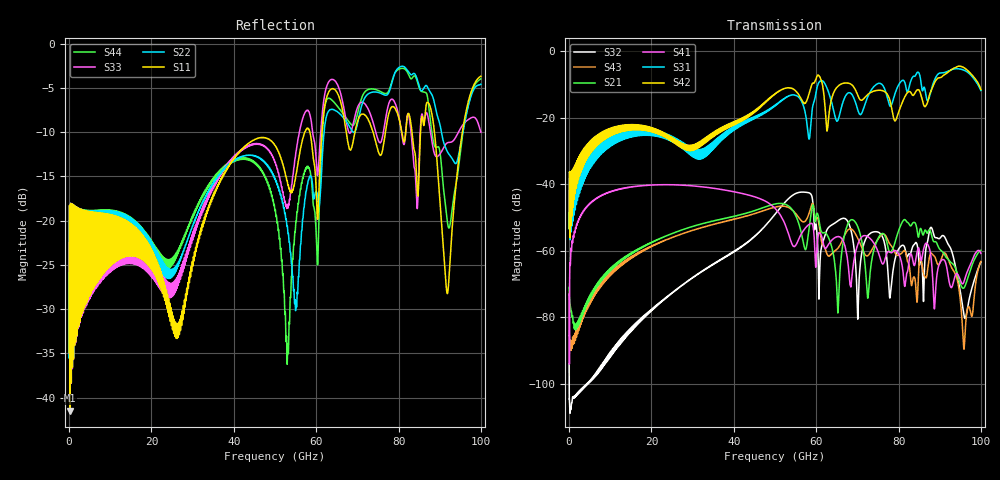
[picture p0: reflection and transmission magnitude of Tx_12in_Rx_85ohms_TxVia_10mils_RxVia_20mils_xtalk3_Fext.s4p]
! Info: Touchstone file created by Circ.  Input file=Tx_12in_Rx_85ohms_TxVia_10mils_RxVia_20mils.circ
# Hz S RI R 50
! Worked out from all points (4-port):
!   10000 points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, 10 MHz to 100 GHz, reference 50 ohm
!   strongest paths, dB at 10 MHz, 25.01 GHz, 50.01 GHz, 75.01 GHz, 100 GHz:
!     S42: -53.2, -26.0, -12.8, -11.7, -11.5
!     S31: -53.3, -25.7, -16.3, -9.7, -11.8
!     S41: -73.0, -40.1, -47.2, -60.2, -60.8
!     S21: -71.0, -54.8, -45.9, -56.3, -59.8
!     S43: -84.1, -56.0, -46.8, -56.5, -63.2
!     S32: -93.9, -72.7, -48.9, -54.3, -63.4
!   lowest |S11| = -41.5 dB at 260 MHz (marker M1), VSWR 1.02, Z = 49.2 + j0.227 ohm
!   |S11| at or under -10 dB: start of sweep to 57.23 GHz; 73.82 GHz to 76.83 GHz (3.01 GHz wide, 4 % of centre); 88.73 GHz to 95.51 GHz (6.78 GHz wide, 7.36 % of centre)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
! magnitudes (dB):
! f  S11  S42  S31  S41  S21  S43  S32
! 10 MHz  -34.9  -53.2  -53.3  -73.0  -71.0  -84.1  -93.9
! 260 MHz  -41.5  -50.1  -50.2  -63.8  -76.6  -88.7  -108.1
! 15.06 GHz  -20.3  -22.4  -23.6  -40.8  -60.7  -62.0  -83.1
! 56.12 GHz  -12.0  -13.8  -14.3  -55.6  -53.2  -50.5  -42.4
! 70.11 GHz  -8.7  -13.2  -17.6  -58.0  -52.7  -56.2  -80.4
! 91.84 GHz  -28.2  -6.4  -6.0  -65.9  -62.2  -61.8  -57.5
! 100 GHz  -3.7  -11.5  -11.8  -60.8  -59.8  -63.2  -63.4
